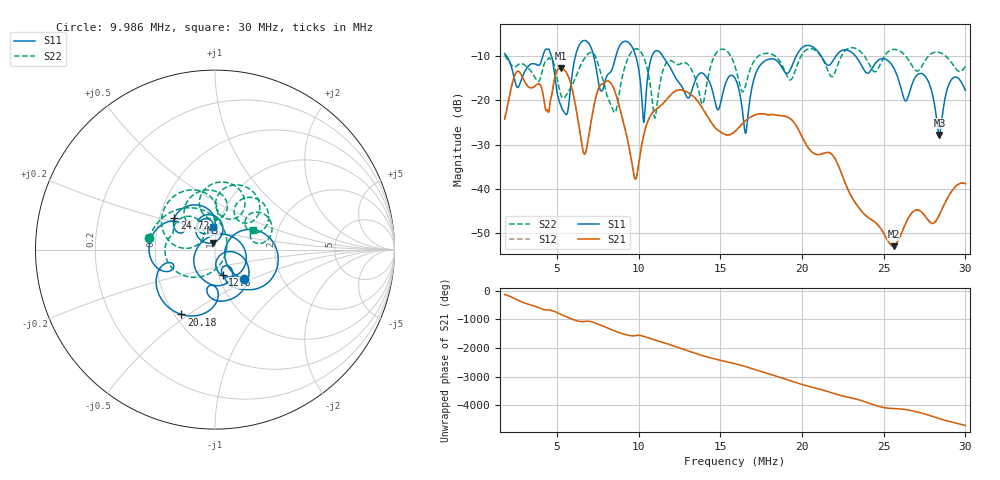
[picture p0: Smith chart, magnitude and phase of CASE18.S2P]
!Agilent Technologies,E5061B,MY49101568,A.02.00
!Date: Wed Mar 01 12:41:57 2023
!Data & Calibration Information:
!Freq	S11:SOLT2(OFF)	S21:SOLT2(OFF)	S12:SOLT2(OFF)	S22:SOLT2(OFF)
# Hz S dB R 50
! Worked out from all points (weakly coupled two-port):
!   1155 points, 1.8 MHz to 30 MHz, reference 50 ohm
!   highest |S21| = -12.86 dB at 5.221 MHz (marker M1); lowest = -52.9 dB at 25.6 MHz (marker M2)
!   lowest |S11| = -27.8 dB at 28.41 MHz (marker M3), VSWR 1.08, Z = 48.5 + j3.71 ohm
!   |S11| at or under -10 dB: 1.904 MHz to 4.145 MHz (2.241 MHz wide, 74.1 % of centre); 11.46 MHz to 19.66 MHz (8.198 MHz wide, 52.7 % of centre); 23.26 MHz to end of sweep (the widest 3 of 7)
!   |S22| runs from -24.1 to -8.2 dB; largest |S21 - S12| = 0.0027
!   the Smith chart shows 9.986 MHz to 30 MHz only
!   S11 on the Smith chart (normalised r, x): 9.986 MHz: 1.30, -0.46; 12.6 MHz: 1.05, -0.30; 20.18 MHz: 0.54, -0.47; 24.72 MHz: 0.60, +0.23; 30 MHz: 0.95, +0.25
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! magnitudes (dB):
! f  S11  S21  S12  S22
! 1.8 MHz  -9.5  -24.3  -24.3  -9.9
! 2.606 MHz  -17.2  -13.5  -13.5  -12.1
! 4.464 MHz  -8.5  -22.6  -22.6  -10.7
! 5.221 MHz  -21.1  -12.9  -12.8  -18.6
! 6.516 MHz  -6.9  -29.8  -29.6  -11.7
! 8.154 MHz  -14.1  -15.7  -15.7  -19.8
! 9.986 MHz  -12.7  -34.9  -34.7  -8.6
! 10.33 MHz  -25.0  -27.7  -27.6  -10.5
! 11.21 MHz  -9.0  -21.7  -21.8  -18.6
! 12.6 MHz  -16.7  -17.7  -17.8  -11.8
! 13.9 MHz  -13.9  -21.8  -21.8  -20.9
! 15.9 MHz  -15.1  -27.0  -27.1  -12.4
! 16.56 MHz  -27.5  -24.6  -24.6  -16.5
! 17.42 MHz  -12.3  -23.1  -23.2  -9.9
! 20.18 MHz  -7.8  -29.5  -29.5  -8.9
! 20.62 MHz  -7.9  -31.7  -31.7  -8.5
! 24.72 MHz  -10.9  -48.4  -48.5  -12.5
! 25.31 MHz  -11.3  -52.0  -52.0  -9.0
! 25.6 MHz  -12.7  -52.9  -52.7  -8.6
! 27.58 MHz  -14.8  -46.3  -46.3  -10.8
! 28.41 MHz  -27.8  -45.8  -45.7  -9.3
! 30 MHz  -17.8  -38.8  -38.8  -12.5
